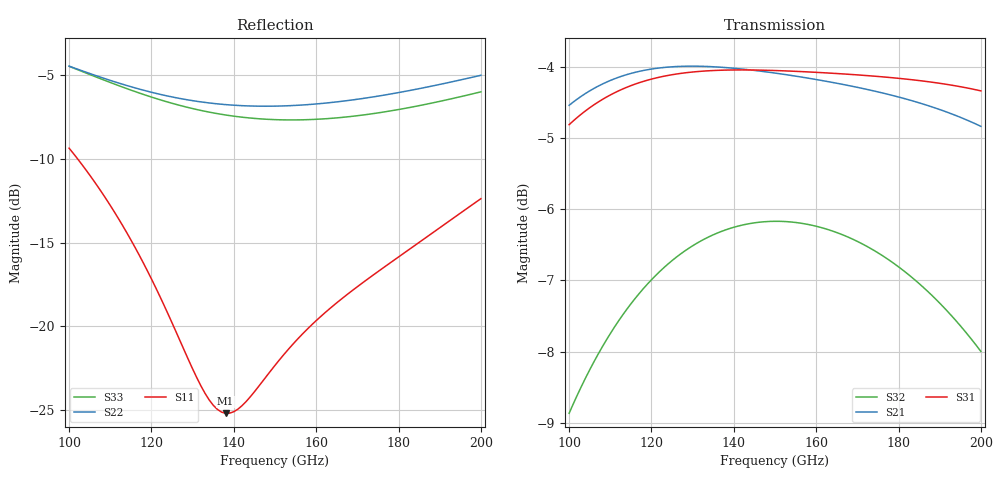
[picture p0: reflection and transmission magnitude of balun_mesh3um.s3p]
! Created with skrf 2.2.0 (http://scikit-rf.org).
# GHz S DB R 50.0
! Port[1] = P1
! Port[2] = P2
! Port[3] = P3
!freq dBS11 angS11 dBS12 angS12 dBS13 angS13
! dBS21 angS21 dBS22 angS22 dBS23 angS23
! dBS31 angS31 dBS32 angS32 dBS33 angS33
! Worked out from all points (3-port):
!   101 points, 100 GHz to 200 GHz, reference 50 ohm
!   strongest paths, dB at 100 GHz, 125 GHz, 150 GHz, 175 GHz, 200 GHz:
!     S31: -4.8, -4.1, -4.1, -4.1, -4.3
!     S21: -4.5, -4.0, -4.1, -4.4, -4.8
!     S32: -8.9, -6.7, -6.2, -6.6, -8.0
!   lowest |S11| = -25.2 dB at 138 GHz (marker M1), VSWR 1.12, Z = 44.9 + j1.24 ohm
!   |S11| at or under -10 dB: 102.1 GHz to end of sweep
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100  -9.36 130.3  -4.54 -14.0  -4.81 161.9
     -4.54 -14.0  -4.45 60.0  -8.87 89.8
     -4.81 161.9  -8.87 89.8  -4.46 49.1
110  -12.78 120.4  -4.19 -29.7  -4.39 145.1
     -4.19 -29.7  -5.30 50.9  -7.75 74.1
     -4.39 145.1  -7.75 74.1  -5.43 38.3
120  -17.18 117.6  -4.03 -44.5  -4.17 129.3
     -4.03 -44.5  -6.02 43.0  -6.99 59.3
     -4.17 129.3  -6.99 59.3  -6.30 28.9
133  -24.02 142.1  -3.99 -62.1  -4.06 110.4
     -3.99 -62.1  -6.62 33.8  -6.41 41.4
     -4.06 110.4  -6.41 41.4  -7.15 18.2
138  -25.21 165.5  -4.01 -68.6  -4.05 103.5
     -4.01 -68.6  -6.75 30.3  -6.29 34.8
     -4.05 103.5  -6.29 34.8  -7.37 14.3
142  -24.76 -176.6  -4.03 -73.6  -4.04 98.1
     -4.03 -73.6  -6.82 27.5  -6.22 29.7
     -4.04 98.1  -6.22 29.7  -7.51 11.3
150  -22.35 -155.6  -4.09 -83.5  -4.05 87.6
     -4.09 -83.5  -6.84 21.7  -6.17 19.6
     -4.05 87.6  -6.17 19.6  -7.65 5.3
162  -19.23 -144.6  -4.20 -97.8  -4.08 72.4
     -4.20 -97.8  -6.67 12.5  -6.27 5.1
     -4.08 72.4  -6.27 5.1  -7.60 -3.9
174  -16.92 -140.6  -4.34 -112.0  -4.13 57.4
     -4.34 -112.0  -6.29 2.4  -6.58 -9.1
     -4.13 57.4  -6.58 -9.1  -7.29 -13.6
200  -12.38 -142.3  -4.84 -143.3  -4.34 24.5
     -4.84 -143.3  -5.00 -22.0  -8.00 -39.6
     -4.34 24.5  -8.00 -39.6  -5.99 -36.9
